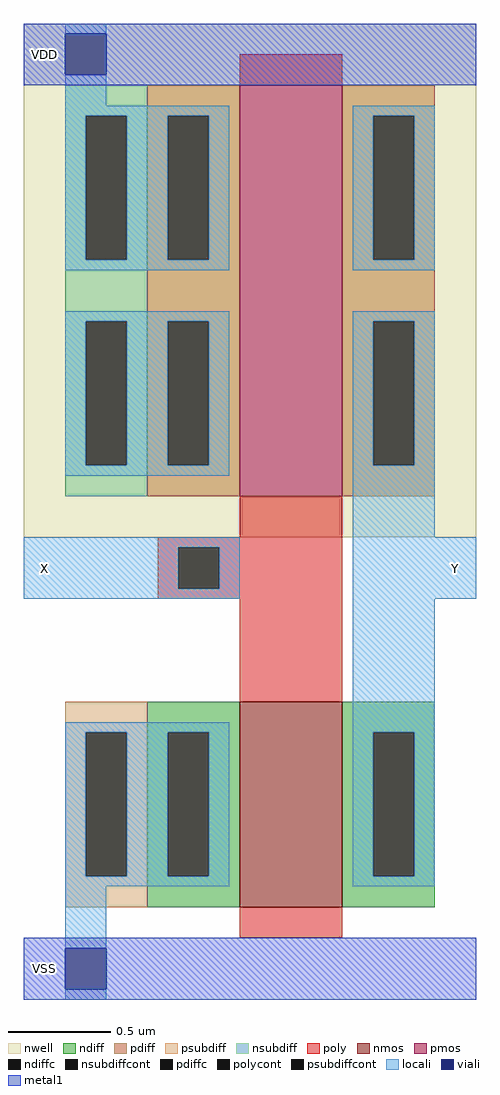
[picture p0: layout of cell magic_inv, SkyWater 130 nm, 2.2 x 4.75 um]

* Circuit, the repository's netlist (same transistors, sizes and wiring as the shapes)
* NGSPICE file created from magic_inv.ext - technology: sky130A

.subckt magic_inv X Y VDD VSS
X0 Y X VDD VDD sky130_fd_pr__pfet_01v8 ad=0.9 pd=4.9 as=0.9 ps=4.9 w=2 l=0.5
**devattr s=36000,980 d=36000,980
X1 Y X VSS VSS sky130_fd_pr__nfet_01v8 ad=0.45 pd=2.9 as=0.45 ps=2.9 w=1 l=0.5
**devattr s=18000,580 d=18000,580
.ends

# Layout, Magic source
magic
tech sky130A
<< nwell >>
rect -105 180 115 430
<< nmos >>
rect 0 0 50 100
<< pmos >>
rect 0 200 50 400
<< ndiff >>
rect -45 85 0 100
rect -45 15 -35 85
rect -15 15 0 85
rect -45 0 0 15
rect 50 85 95 100
rect 50 15 65 85
rect 85 15 95 85
rect 50 0 95 15
<< pdiff >>
rect -45 385 0 400
rect -45 315 -35 385
rect -15 315 0 385
rect -45 285 0 315
rect -45 215 -35 285
rect -15 215 0 285
rect -45 200 0 215
rect 50 385 95 400
rect 50 315 65 385
rect 85 315 95 385
rect 50 285 95 315
rect 50 215 65 285
rect 85 215 95 285
rect 50 200 95 215
<< ndiffc >>
rect -35 15 -15 85
rect 65 15 85 85
<< pdiffc >>
rect -35 315 -15 385
rect -35 215 -15 285
rect 65 315 85 385
rect 65 215 85 285
<< psubdiff >>
rect -85 85 -45 100
rect -85 15 -75 85
rect -55 15 -45 85
rect -85 0 -45 15
<< nsubdiff >>
rect -85 385 -45 400
rect -85 315 -75 385
rect -55 315 -45 385
rect -85 285 -45 315
rect -85 215 -75 285
rect -55 215 -45 285
rect -85 200 -45 215
<< psubdiffcont >>
rect -75 15 -55 85
<< nsubdiffcont >>
rect -75 315 -55 385
rect -75 215 -55 285
<< poly >>
rect 0 400 50 415
rect 0 180 50 200
rect -40 175 50 180
rect -40 155 -30 175
rect -10 155 50 175
rect -40 150 50 155
rect 0 100 50 150
rect 0 -15 50 0
<< polycont >>
rect -30 155 -10 175
<< locali >>
rect -85 425 -65 430
rect -85 390 -65 405
rect -85 385 -5 390
rect -85 315 -75 385
rect -55 315 -35 385
rect -15 315 -5 385
rect -85 310 -5 315
rect 55 385 95 390
rect 55 315 65 385
rect 85 315 95 385
rect 55 310 95 315
rect -85 285 -5 290
rect -85 215 -75 285
rect -55 215 -35 285
rect -15 215 -5 285
rect -85 210 -5 215
rect 55 285 95 290
rect 55 215 65 285
rect 85 215 95 285
rect 55 180 95 215
rect -105 175 0 180
rect -105 155 -30 175
rect -10 155 0 175
rect -105 150 0 155
rect 55 150 115 180
rect -85 85 -5 90
rect -85 15 -75 85
rect -55 15 -35 85
rect -15 15 -5 85
rect -85 10 -5 15
rect 55 85 95 150
rect 55 15 65 85
rect 85 15 95 85
rect 55 10 95 15
rect -85 -20 -65 10
rect -85 -45 -65 -40
<< viali >>
rect -85 405 -65 425
rect -85 -40 -65 -20
<< metal1 >>
rect -105 425 115 430
rect -105 405 -85 425
rect -65 405 115 425
rect -105 400 115 405
rect -105 -20 115 -15
rect -105 -40 -85 -20
rect -65 -40 115 -20
rect -105 -45 115 -40
<< labels >>
rlabel locali -105 150 -85 180 7 X
port 1 w
rlabel locali 95 150 115 180 3 Y
port 2 e
rlabel metal1 -105 400 -85 430 7 VDD
port 3 w
rlabel metal1 -105 -45 -85 -15 7 VSS
port 4 w
<< end >>
